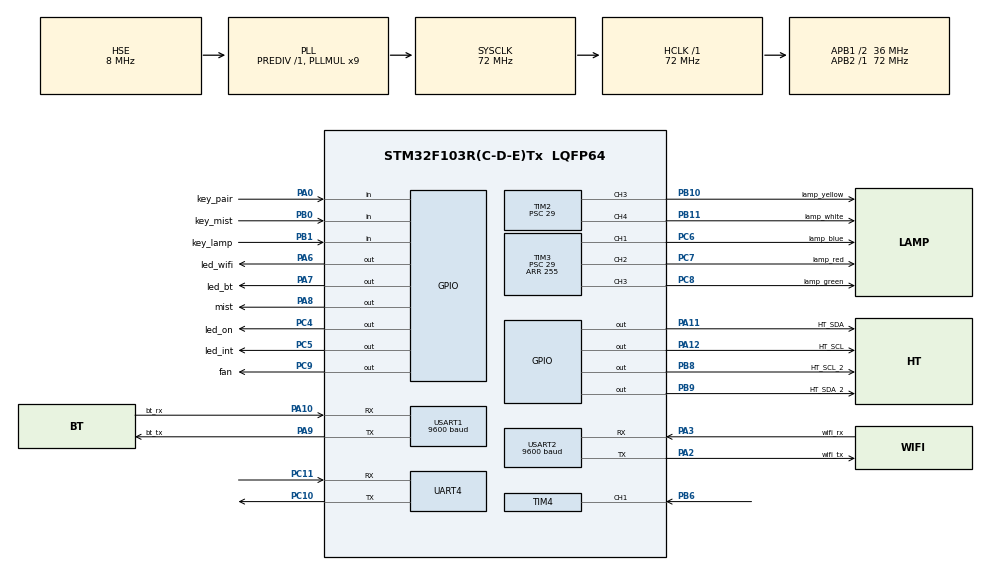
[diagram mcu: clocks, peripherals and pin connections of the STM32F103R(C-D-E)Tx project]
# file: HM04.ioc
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FREERTOS.INCLUDE_eTaskGetState=1
FREERTOS.INCLUDE_vTaskDelayUntil=1
FREERTOS.Queues01=eventsQueue,16,uint16_t,0,Dynamic,NULL,NULL
FREERTOS.Tasks01=defaultTask,0,128,StartDefaultTask,Default,NULL,Dynamic,NULL,NULL;LightsTask,-3,128,StartLightsTask,Default,NULL,Dynamic,NULL,NULL;CliTask,-3,128,StartCliTask,Default,NULL,Dynamic,NULL,NULL;FsmTask,-3,128,StartFsmTask,Default,NULL,Dynamic,NULL,NULL;KeysTask,0,128,StartKeysTask,Default,NULL,Dynamic,NULL,NULL;GizwitsTask,0,128,StartGizwitsTask,Default,NULL,Dynamic,NULL,NULL;SensorsTask,-3,128,StartSensorsTask,Default,NULL,Dynamic,NULL,NULL;ScenarioTask,-3,128,StartScenarioTask,Default,NULL,Dynamic,NULL,NULL
FREERTOS.Timers01=PairingHmiTimer,PairingHmiCallback,osTimerPeriodic,Default,NULL,Dynamic,NULL;LampDynamicTimer,LampDynamicCallback,osTimerPeriodic,Default,NULL,Dynamic,NULL;MistTimer,MistTimerCallback,osTimerOnce,Default,NULL,Dynamic,NULL;MistIntermittentTimer,IntermittentCallback,osTimerPeriodic,Default,NULL,Dynamic,NULL;TurnOffMistingDelayTimer,TurnOffMistingCallback,osTimerOnce,Default,NULL,Dynamic,NULL;PairingTimer,PairingTimerCallback,osTimerOnce,Default,NULL,Dynamic,NULL
FREERTOS.configGENERATE_RUN_TIME_STATS=1
FREERTOS.configTOTAL_HEAP_SIZE=10000
FREERTOS.configUSE_STATS_FORMATTING_FUNCTIONS=1
FREERTOS.configUSE_TIMERS=1
FREERTOS.configUSE_TRACE_FACILITY=1
Mcu.Family=STM32F1
Mcu.Name=STM32F103R(C-D-E)Tx
Mcu.Package=LQFP64
NVIC.PriorityGroup=NVIC_PRIORITYGROUP_4
NVIC.TIM1_UP_IRQn=true\:0\:0\:false\:false\:true\:false\:false
NVIC.TIM4_IRQn=true\:5\:0\:false\:false\:true\:true\:true
NVIC.TIM7_IRQn=true\:5\:0\:false\:false\:true\:true\:true
NVIC.TimeBase=TIM1_UP_IRQn
NVIC.TimeBaseIP=TIM1
NVIC.USART1_IRQn=true\:5\:0\:false\:false\:true\:true\:true
NVIC.USART2_IRQn=true\:5\:0\:false\:false\:true\:true\:true
PA0-WKUP.GPIO_Label=key_pair
PA0-WKUP.Signal=GPIO_Input
PA10.GPIO_Label=bt_rx
PA10.Mode=Asynchronous
PA10.Signal=USART1_RX
PA11.GPIO_Label=HT_SDA
PA11.Signal=GPIO_Output
PA12.GPIO_Label=HT_SCL
PA12.Signal=GPIO_Output
PA13.Mode=Trace_Asynchronous_SW
PA13.Signal=SYS_JTMS-SWDIO
PA14.Mode=Trace_Asynchronous_SW
PA14.Signal=SYS_JTCK-SWCLK
PA2.GPIO_Label=wifi_tx
PA2.Mode=Asynchronous
PA2.Signal=USART2_TX
PA3.GPIO_Label=wifi_rx
PA3.Mode=Asynchronous
PA3.Signal=USART2_RX
PA6.GPIO_Label=led_wifi
PA6.PinState=GPIO_PIN_SET
PA6.Signal=GPIO_Output
PA7.GPIO_Label=led_bt
PA7.PinState=GPIO_PIN_SET
PA7.Signal=GPIO_Output
PA8.GPIO_Label=mist
PA8.Signal=GPIO_Output
PA9.GPIO_Label=bt_tx
PA9.Mode=Asynchronous
PA9.Signal=USART1_TX
PB0.GPIO_Label=key_mist
PB0.Signal=GPIO_Input
PB1.GPIO_Label=key_lamp
PB1.Signal=GPIO_Input
PB10.GPIO_Label=lamp_yellow
PB10.Signal=S_TIM2_CH3
PB11.GPIO_Label=lamp_white
PB11.Signal=S_TIM2_CH4
PB3.Mode=Trace_Asynchronous_SW
PB3.Signal=SYS_JTDO-TRACESWO
PB6.Signal=S_TIM4_CH1
PB8.GPIO_Label=HT_SCL_2
PB8.Signal=GPIO_Output
PB9.GPIO_Label=HT_SDA_2
PB9.Signal=GPIO_Output
PC10.Mode=Asynchronous
PC10.Signal=UART4_TX
PC11.Mode=Asynchronous
PC11.Signal=UART4_RX
PC4.GPIO_Label=led_on
PC4.PinState=GPIO_PIN_SET
PC4.Signal=GPIO_Output
PC5.GPIO_Label=led_int
PC5.PinState=GPIO_PIN_SET
PC5.Signal=GPIO_Output
PC6.GPIO_Label=lamp_blue
PC6.Signal=S_TIM3_CH1
PC7.GPIO_Label=lamp_red
PC7.Signal=S_TIM3_CH2
PC8.GPIO_Label=lamp_green
PC8.Signal=S_TIM3_CH3
PC9.GPIO_Label=fan
PC9.Signal=GPIO_Output
PD0-OSC_IN.Mode=HSE-External-Oscillator
PD0-OSC_IN.Signal=RCC_OSC_IN
PD1-OSC_OUT.Mode=HSE-External-Oscillator
PD1-OSC_OUT.Signal=RCC_OSC_OUT
ProjectManager.HeapSize=0x200
ProjectManager.StackSize=0x400
ProjectManager.TargetToolchain=TrueSTUDIO
RCC.AHBFreq_Value=72000000
RCC.APB1CLKDivider=RCC_HCLK_DIV2
RCC.APB1Freq_Value=36000000
RCC.APB1TimFreq_Value=72000000
RCC.APB2Freq_Value=72000000
RCC.APB2TimFreq_Value=72000000
RCC.HCLKFreq_Value=72000000
RCC.PLLMUL=RCC_PLL_MUL9
RCC.PLLSourceVirtual=RCC_PLLSOURCE_HSE
RCC.SYSCLKFreq_VALUE=72000000
RCC.SYSCLKSource=RCC_SYSCLKSOURCE_PLLCLK
RCC.USBFreq_Value=72000000
SH.S_TIM2_CH3.0=TIM2_CH3,PWM Generation3 CH3
SH.S_TIM2_CH4.0=TIM2_CH4,PWM Generation4 CH4
SH.S_TIM3_CH1.0=TIM3_CH1,PWM Generation1 CH1
SH.S_TIM3_CH2.0=TIM3_CH2,PWM Generation2 CH2
SH.S_TIM3_CH3.0=TIM3_CH3,PWM Generation3 CH3
SH.S_TIM4_CH1.0=TIM4_CH1,TriggerSource_TI1FP1
SH.S_TIM4_CH1.1=TIM4_CH1,Input_Capture1_from_TI1
SH.S_TIM4_CH1.2=TIM4_CH1,Input_Capture2_from_TI1
TIM2.Channel-PWM\ Generation3\ CH3=TIM_CHANNEL_3
TIM2.Channel-PWM\ Generation4\ CH4=TIM_CHANNEL_4
TIM2.Period=255
TIM2.Prescaler=29
TIM3.Channel-PWM\ Generation1\ CH1=TIM_CHANNEL_1
TIM3.Channel-PWM\ Generation2\ CH2=TIM_CHANNEL_2
TIM3.Channel-PWM\ Generation3\ CH3=TIM_CHANNEL_3
TIM3.Period=255
TIM3.Prescaler=29
TIM3.Pulse-PWM\ Generation1\ CH1=0
TIM3.Pulse-PWM\ Generation2\ CH2=0
TIM3.Pulse-PWM\ Generation3\ CH3=0
TIM4.Channel-Input_Capture1_from_TI1=TIM_CHANNEL_1
TIM4.Channel-Input_Capture2_from_TI1=TIM_CHANNEL_2
TIM4.ICPolarity_CH1=TIM_INPUTCHANNELPOLARITY_FALLING
TIM4.Period=15000
TIM4.Prescaler=71
TIM7.AutoReloadPreload=TIM_AUTORELOAD_PRELOAD_ENABLE
TIM7.Period=999
TIM7.Prescaler=71
UART4.VirtualMode=Asynchronous
USART1.BaudRate=9600
USART1.VirtualMode=VM_ASYNC
USART2.BaudRate=9600
USART2.VirtualMode=VM_ASYNC
VP_FREERTOS_VS_ENABLE.Mode=Enabled
VP_SYS_VS_tim1.Mode=TIM1
VP_TIM4_VS_ClockSourceINT.Mode=Internal
VP_TIM4_VS_ControllerModeReset.Mode=Reset Mode
VP_TIM7_VS_ClockSourceINT.Mode=Enable_Timer
board=custom

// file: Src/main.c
/**
  ******************************************************************************
  * @file           : main.c
  * @brief          : Main program body
  ******************************************************************************
  * This notice applies to any and all portions of this file
  * that are not between comment pairs USER CODE BEGIN and
  * USER CODE END. Other portions of this file, whether
  * inserted by the user or by software development tools
  * are owned by their respective copyright owners.
  *
  * Copyright (c) 2019 STMicroelectronics International N.V.
  * All rights reserved.
  *
  * Redistribution and use in source and binary forms, with or without
  * modification, are permitted, provided that the following conditions are met:
  *
  * 1. Redistribution of source code must retain the above copyright notice,
  *    this list of conditions and the following disclaimer.
  * 2. Redistributions in binary form must reproduce the above copyright notice,
  *    this list of conditions and the following disclaimer in the documentation
  *    and/or other materials provided with the distribution.
  * 3. Neither the name of STMicroelectronics nor the names of other
  *    contributors to this software may be used to endorse or promote products
  *    derived from this software without specific written permission.
  * 4. This software, including modifications and/or derivative works of this
  *    software, must execute solely and exclusively on microcontroller or
  *    microprocessor devices manufactured by or for STMicroelectronics.
  * 5. Redistribution and use of this software other than as permitted under
  *    this license is void and will automatically terminate your rights under
  *    this license.
  *
  * THIS SOFTWARE IS PROVIDED BY STMICROELECTRONICS AND CONTRIBUTORS "AS IS"
  * AND ANY EXPRESS, IMPLIED OR STATUTORY WARRANTIES, INCLUDING, BUT NOT
  * LIMITED TO, THE IMPLIED WARRANTIES OF MERCHANTABILITY, FITNESS FOR A
  * PARTICULAR PURPOSE AND NON-INFRINGEMENT OF THIRD PARTY INTELLECTUAL PROPERTY
  * RIGHTS ARE DISCLAIMED TO THE FULLEST EXTENT PERMITTED BY LAW. IN NO EVENT
  * SHALL STMICROELECTRONICS OR CONTRIBUTORS BE LIABLE FOR ANY DIRECT, INDIRECT,
  * INCIDENTAL, SPECIAL, EXEMPLARY, OR CONSEQUENTIAL DAMAGES (INCLUDING, BUT NOT
  * LIMITED TO, PROCUREMENT OF SUBSTITUTE GOODS OR SERVICES; LOSS OF USE, DATA,
  * OR PROFITS; OR BUSINESS INTERRUPTION) HOWEVER CAUSED AND ON ANY THEORY OF
  * LIABILITY, WHETHER IN CONTRACT, STRICT LIABILITY, OR TORT (INCLUDING
  * NEGLIGENCE OR OTHERWISE) ARISING IN ANY WAY OUT OF THE USE OF THIS SOFTWARE,
  * EVEN IF ADVISED OF THE POSSIBILITY OF SUCH DAMAGE.
  *
  ******************************************************************************
  */
#include "main.h"
#include "stm32f1xx_hal.h"
#include "cmsis_os.h"

/* USER CODE BEGIN Includes */
#include "bsp_gpio.h"
#include "bsp_lamp.h"
#include "app.h"
#include "fsm.h"

#include "api_hm04.h"
#include "api_lamp.h"
#include "api_mist.h"
#include "api_sensor.h"
#include "sw_iic.h"
#include "gizwits.h"
#include "gizwits_product.h"
#include "gizwits_protocol.h"
#include "ir_decode.h"
/* USER CODE END Includes */

TIM_HandleTypeDef htim2;
TIM_HandleTypeDef htim3;
TIM_HandleTypeDef htim4;
TIM_HandleTypeDef htim7;

UART_HandleTypeDef huart4;
UART_HandleTypeDef huart1;
UART_HandleTypeDef huart2;

osThreadId defaultTaskHandle;
osThreadId LightsTaskHandle;
osThreadId CliTaskHandle;
osThreadId FsmTaskHandle;
osThreadId KeysTaskHandle;
osThreadId GizwitsTaskHandle;
osThreadId SensorsTaskHandle;
osThreadId ScenarioTaskHandle;
osMessageQId eventsQueueHandle;
osTimerId PairingHmiTimerHandle;
osTimerId LampDynamicTimerHandle;
osTimerId MistTimerHandle;
osTimerId MistIntermittentTimerHandle;
osTimerId TurnOffMistingDelayTimerHandle;
osTimerId PairingTimerHandle;

/* USER CODE BEGIN PV */
/* Private variables ---------------------------------------------------------*/
IR_Frame_TypeDef IF_FRAME;

const uint8_t firmware_version[] = "2.2.2";
const uint8_t firmware_version_1 = 2;
const uint8_t firmware_version_2 = 2;
const uint8_t firmware_version_3 = 2;
/* USER CODE END PV */

void SystemClock_Config(void);
static void MX_GPIO_Init(void);
static void MX_UART4_Init(void);
static void MX_USART1_UART_Init(void);
static void MX_TIM3_Init(void);
static void MX_USART2_UART_Init(void);
static void MX_TIM7_Init(void);
static void MX_TIM2_Init(void);
static void MX_TIM4_Init(void);
void StartDefaultTask(void const * argument);
void StartLightsTask(void const * argument);
void StartCliTask(void const * argument);
void StartFsmTask(void const * argument);
void StartKeysTask(void const * argument);
void StartGizwitsTask(void const * argument);
void StartSensorsTask(void const * argument);
void StartScenarioTask(void const * argument);
void PairingHmiCallback(void const * argument);
void LampDynamicCallback(void const * argument);
void MistTimerCallback(void const * argument);
void IntermittentCallback(void const * argument);
void TurnOffMistingCallback(void const * argument);
void PairingTimerCallback(void const * argument);
void HAL_TIM_MspPostInit(TIM_HandleTypeDef *htim);

/* USER CODE BEGIN PFP */
/* Private function prototypes -----------------------------------------------*/
extern void prvUARTCommandConsoleTask(void const * pvParameters );
extern void vRegisterCLICommands( void );
/* USER CODE END PFP */

int main(void)
{

  /* MCU Configuration----------------------------------------------------------*/

  /* Reset of all peripherals, Initializes the Flash interface and the Systick. */
  HAL_Init();

  /* Configure the system clock */
  SystemClock_Config();

  /* Initialize all configured peripherals */
  MX_GPIO_Init();
  MX_UART4_Init();
  MX_USART1_UART_Init();
  MX_TIM3_Init();
  MX_USART2_UART_Init();
  MX_TIM7_Init();
  MX_TIM2_Init();
  MX_TIM4_Init();
  /* USER CODE BEGIN 2 */
  vRegisterCLICommands();
  //InitLampPWM();
  //StartSystemMessage();
  // TestLampPwm();

  InitHM04();
  InitGizwits();
  InitHDC1080_sw_iic();
  InitSpeaker();
  IR_Init();

  HAL_TIM_IC_Start_IT(&htim4, TIM_CHANNEL_1);
  HAL_TIM_IC_Start_IT(&htim4, TIM_CHANNEL_2);
  // HAL_TIM_Base_Start(&htim4);
  HAL_TIM_Base_Start_IT(&htim4);
  // gizwitsSetMode(WIFI_SOFTAP_MODE);

    // __HAL_RCC_DBGMCU_CLK_ENABLE();

  //  HAL_DBGMCU_EnableDBGStandbyMode();
  //  HAL_DBGMCU_EnableDBGStopMode();
  //  __HAL_DBGMCU_FREEZE_TIM4();

  //  DBGMCU->APB1FZ |= 1;
  SystemStartSignal();
  printf("system started.\n");
  printf("Firmware version: %d %d %d\n", firmware_version_1, firmware_version_2, firmware_version_3);

  /* USER CODE END 2 */

  /* Create the timer(s) */
  /* definition and creation of PairingHmiTimer */
  osTimerDef(PairingHmiTimer, PairingHmiCallback);
  PairingHmiTimerHandle = osTimerCreate(osTimer(PairingHmiTimer), osTimerPeriodic, NULL);

  /* definition and creation of LampDynamicTimer */
  osTimerDef(LampDynamicTimer, LampDynamicCallback);
  LampDynamicTimerHandle = osTimerCreate(osTimer(LampDynamicTimer), osTimerPeriodic, NULL);

  /* definition and creation of MistTimer */
  osTimerDef(MistTimer, MistTimerCallback);
  MistTimerHandle = osTimerCreate(osTimer(MistTimer), osTimerOnce, NULL);

  /* definition and creation of MistIntermittentTimer */
  osTimerDef(MistIntermittentTimer, IntermittentCallback);
  MistIntermittentTimerHandle = osTimerCreate(osTimer(MistIntermittentTimer), osTimerPeriodic, NULL);

  /* definition and creation of TurnOffMistingDelayTimer */
  osTimerDef(TurnOffMistingDelayTimer, TurnOffMistingCallback);
  TurnOffMistingDelayTimerHandle = osTimerCreate(osTimer(TurnOffMistingDelayTimer), osTimerOnce, NULL);

  /* definition and creation of PairingTimer */
  osTimerDef(PairingTimer, PairingTimerCallback);
  PairingTimerHandle = osTimerCreate(osTimer(PairingTimer), osTimerOnce, NULL);

  /* Create the thread(s) */
  /* definition and creation of defaultTask */
  osThreadDef(defaultTask, StartDefaultTask, osPriorityNormal, 0, 128);
  defaultTaskHandle = osThreadCreate(osThread(defaultTask), NULL);

  /* definition and creation of LightsTask */
  osThreadDef(LightsTask, StartLightsTask, osPriorityIdle, 0, 128);
  LightsTaskHandle = osThreadCreate(osThread(LightsTask), NULL);

  /* definition and creation of CliTask */
  osThreadDef(CliTask, StartCliTask, osPriorityIdle, 0, 128);
  CliTaskHandle = osThreadCreate(osThread(CliTask), NULL);

  /* definition and creation of FsmTask */
  osThreadDef(FsmTask, StartFsmTask, osPriorityIdle, 0, 128);
  FsmTaskHandle = osThreadCreate(osThread(FsmTask), NULL);

  /* definition and creation of KeysTask */
  osThreadDef(KeysTask, StartKeysTask, osPriorityNormal, 0, 128);
  KeysTaskHandle = osThreadCreate(osThread(KeysTask), NULL);

  /* definition and creation of GizwitsTask */
  osThreadDef(GizwitsTask, StartGizwitsTask, osPriorityNormal, 0, 128);
  GizwitsTaskHandle = osThreadCreate(osThread(GizwitsTask), NULL);

  /* definition and creation of SensorsTask */
  osThreadDef(SensorsTask, StartSensorsTask, osPriorityIdle, 0, 128);
  SensorsTaskHandle = osThreadCreate(osThread(SensorsTask), NULL);

  /* definition and creation of ScenarioTask */
  osThreadDef(ScenarioTask, StartScenarioTask, osPriorityIdle, 0, 128);
  ScenarioTaskHandle = osThreadCreate(osThread(ScenarioTask), NULL);

  /* Create the queue(s) */
  /* definition and creation of eventsQueue */
/* what about the sizeof here??? cd native code */
  osMessageQDef(eventsQueue, 16, uint16_t);
  eventsQueueHandle = osMessageCreate(osMessageQ(eventsQueue), NULL);

  /* Start scheduler */
  osKernelStart();

  /* We should never get here as control is now taken by the scheduler */

  /* Infinite loop */
  while (1)
  {

  }

}

void SystemClock_Config(void)
{

  RCC_OscInitTypeDef RCC_OscInitStruct;
  RCC_ClkInitTypeDef RCC_ClkInitStruct;

    /**Initializes the CPU, AHB and APB busses clocks
    */
  RCC_OscInitStruct.OscillatorType = RCC_OSCILLATORTYPE_HSE;
  RCC_OscInitStruct.HSEState = RCC_HSE_ON;
  RCC_OscInitStruct.HSEPredivValue = RCC_HSE_PREDIV_DIV1;
  RCC_OscInitStruct.HSIState = RCC_HSI_ON;
  RCC_OscInitStruct.PLL.PLLState = RCC_PLL_ON;
  RCC_OscInitStruct.PLL.PLLSource = RCC_PLLSOURCE_HSE;
  RCC_OscInitStruct.PLL.PLLMUL = RCC_PLL_MUL9;
  if (HAL_RCC_OscConfig(&RCC_OscInitStruct) != HAL_OK)
  {
    _Error_Handler(__FILE__, __LINE__);
  }

    /**Initializes the CPU, AHB and APB busses clocks
    */
  RCC_ClkInitStruct.ClockType = RCC_CLOCKTYPE_HCLK|RCC_CLOCKTYPE_SYSCLK
                              |RCC_CLOCKTYPE_PCLK1|RCC_CLOCKTYPE_PCLK2;
  RCC_ClkInitStruct.SYSCLKSource = RCC_SYSCLKSOURCE_PLLCLK;
  RCC_ClkInitStruct.AHBCLKDivider = RCC_SYSCLK_DIV1;
  RCC_ClkInitStruct.APB1CLKDivider = RCC_HCLK_DIV2;
  RCC_ClkInitStruct.APB2CLKDivider = RCC_HCLK_DIV1;

  if (HAL_RCC_ClockConfig(&RCC_ClkInitStruct, FLASH_LATENCY_2) != HAL_OK)
  {
    _Error_Handler(__FILE__, __LINE__);
  }

    /**Configure the Systick interrupt time
    */
  HAL_SYSTICK_Config(HAL_RCC_GetHCLKFreq()/1000);

    /**Configure the Systick
    */
  HAL_SYSTICK_CLKSourceConfig(SYSTICK_CLKSOURCE_HCLK);

  /* SysTick_IRQn interrupt configuration */
  HAL_NVIC_SetPriority(SysTick_IRQn, 15, 0);
}

/* TIM2 init function */
static void MX_TIM2_Init(void)
{

  TIM_MasterConfigTypeDef sMasterConfig;
  TIM_OC_InitTypeDef sConfigOC;

  htim2.Instance = TIM2;
  htim2.Init.Prescaler = 29;
  htim2.Init.CounterMode = TIM_COUNTERMODE_UP;
  htim2.Init.Period = 255;
  htim2.Init.ClockDivision = TIM_CLOCKDIVISION_DIV1;
  htim2.Init.AutoReloadPreload = TIM_AUTORELOAD_PRELOAD_DISABLE;
  if (HAL_TIM_PWM_Init(&htim2) != HAL_OK)
  {
    _Error_Handler(__FILE__, __LINE__);
  }

  sMasterConfig.MasterOutputTrigger = TIM_TRGO_RESET;
  sMasterConfig.MasterSlaveMode = TIM_MASTERSLAVEMODE_DISABLE;
  if (HAL_TIMEx_MasterConfigSynchronization(&htim2, &sMasterConfig) != HAL_OK)
  {
    _Error_Handler(__FILE__, __LINE__);
  }

  sConfigOC.OCMode = TIM_OCMODE_PWM1;
  sConfigOC.Pulse = 0;
  sConfigOC.OCPolarity = TIM_OCPOLARITY_HIGH;
  sConfigOC.OCFastMode = TIM_OCFAST_DISABLE;
  if (HAL_TIM_PWM_ConfigChannel(&htim2, &sConfigOC, TIM_CHANNEL_3) != HAL_OK)
  {
    _Error_Handler(__FILE__, __LINE__);
  }

  if (HAL_TIM_PWM_ConfigChannel(&htim2, &sConfigOC, TIM_CHANNEL_4) != HAL_OK)
  {
    _Error_Handler(__FILE__, __LINE__);
  }

  HAL_TIM_MspPostInit(&htim2);

}

/* TIM3 init function */
static void MX_TIM3_Init(void)
{

  TIM_MasterConfigTypeDef sMasterConfig;
  TIM_OC_InitTypeDef sConfigOC;

  htim3.Instance = TIM3;
  htim3.Init.Prescaler = 29;
  htim3.Init.CounterMode = TIM_COUNTERMODE_UP;
  htim3.Init.Period = 255;
  htim3.Init.ClockDivision = TIM_CLOCKDIVISION_DIV1;
  htim3.Init.AutoReloadPreload = TIM_AUTORELOAD_PRELOAD_DISABLE;
  if (HAL_TIM_PWM_Init(&htim3) != HAL_OK)
  {
    _Error_Handler(__FILE__, __LINE__);
  }

  sMasterConfig.MasterOutputTrigger = TIM_TRGO_RESET;
  sMasterConfig.MasterSlaveMode = TIM_MASTERSLAVEMODE_DISABLE;
  if (HAL_TIMEx_MasterConfigSynchronization(&htim3, &sMasterConfig) != HAL_OK)
  {
    _Error_Handler(__FILE__, __LINE__);
  }

  sConfigOC.OCMode = TIM_OCMODE_PWM1;
  sConfigOC.Pulse = 0;
  sConfigOC.OCPolarity = TIM_OCPOLARITY_HIGH;
  sConfigOC.OCFastMode = TIM_OCFAST_DISABLE;
  if (HAL_TIM_PWM_ConfigChannel(&htim3, &sConfigOC, TIM_CHANNEL_1) != HAL_OK)
  {
    _Error_Handler(__FILE__, __LINE__);
  }

  if (HAL_TIM_PWM_ConfigChannel(&htim3, &sConfigOC, TIM_CHANNEL_2) != HAL_OK)
  {
    _Error_Handler(__FILE__, __LINE__);
  }

  if (HAL_TIM_PWM_ConfigChannel(&htim3, &sConfigOC, TIM_CHANNEL_3) != HAL_OK)
  {
    _Error_Handler(__FILE__, __LINE__);
  }

  HAL_TIM_MspPostInit(&htim3);

}

/* TIM4 init function */
static void MX_TIM4_Init(void)
{

  TIM_ClockConfigTypeDef sClockSourceConfig;
  TIM_SlaveConfigTypeDef sSlaveConfig;
  TIM_MasterConfigTypeDef sMasterConfig;
  TIM_IC_InitTypeDef sConfigIC;

  htim4.Instance = TIM4;
  htim4.Init.Prescaler = 71;
  htim4.Init.CounterMode = TIM_COUNTERMODE_UP;
  htim4.Init.Period = 15000;
  htim4.Init.ClockDivision = TIM_CLOCKDIVISION_DIV1;
  htim4.Init.AutoReloadPreload = TIM_AUTORELOAD_PRELOAD_DISABLE;
  if (HAL_TIM_Base_Init(&htim4) != HAL_OK)
  {
    _Error_Handler(__FILE__, __LINE__);
  }

  sClockSourceConfig.ClockSource = TIM_CLOCKSOURCE_INTERNAL;
  if (HAL_TIM_ConfigClockSource(&htim4, &sClockSourceConfig) != HAL_OK)
  {
    _Error_Handler(__FILE__, __LINE__);
  }

  if (HAL_TIM_IC_Init(&htim4) != HAL_OK)
  {
    _Error_Handler(__FILE__, __LINE__);
  }

  sSlaveConfig.SlaveMode = TIM_SLAVEMODE_RESET;
  sSlaveConfig.InputTrigger = TIM_TS_TI1FP1;
  sSlaveConfig.TriggerPolarity = TIM_INPUTCHANNELPOLARITY_FALLING;
  sSlaveConfig.TriggerFilter = 0;
  if (HAL_TIM_SlaveConfigSynchronization(&htim4, &sSlaveConfig) != HAL_OK)
  {
    _Error_Handler(__FILE__, __LINE__);
  }

  sMasterConfig.MasterOutputTrigger = TIM_TRGO_RESET;
  sMasterConfig.MasterSlaveMode = TIM_MASTERSLAVEMODE_DISABLE;
  if (HAL_TIMEx_MasterConfigSynchronization(&htim4, &sMasterConfig) != HAL_OK)
  {
    _Error_Handler(__FILE__, __LINE__);
  }

  sConfigIC.ICPolarity = TIM_INPUTCHANNELPOLARITY_FALLING;
  sConfigIC.ICSelection = TIM_ICSELECTION_DIRECTTI;
  sConfigIC.ICPrescaler = TIM_ICPSC_DIV1;
  sConfigIC.ICFilter = 0;
  if (HAL_TIM_IC_ConfigChannel(&htim4, &sConfigIC, TIM_CHANNEL_1) != HAL_OK)
  {
    _Error_Handler(__FILE__, __LINE__);
  }

  sConfigIC.ICPolarity = TIM_INPUTCHANNELPOLARITY_RISING;
  sConfigIC.ICSelection = TIM_ICSELECTION_INDIRECTTI;
  if (HAL_TIM_IC_ConfigChannel(&htim4, &sConfigIC, TIM_CHANNEL_2) != HAL_OK)
  {
    _Error_Handler(__FILE__, __LINE__);
  }

}

/* TIM7 init function */
static void MX_TIM7_Init(void)
{

  TIM_MasterConfigTypeDef sMasterConfig;

  htim7.Instance = TIM7;
  htim7.Init.Prescaler = 71;
  htim7.Init.CounterMode = TIM_COUNTERMODE_UP;
  htim7.Init.Period = 999;
  htim7.Init.AutoReloadPreload = TIM_AUTORELOAD_PRELOAD_ENABLE;
  if (HAL_TIM_Base_Init(&htim7) != HAL_OK)
  {
    _Error_Handler(__FILE__, __LINE__);
  }

  sMasterConfig.MasterOutputTrigger = TIM_TRGO_RESET;
  sMasterConfig.MasterSlaveMode = TIM_MASTERSLAVEMODE_DISABLE;
  if (HAL_TIMEx_MasterConfigSynchronization(&htim7, &sMasterConfig) != HAL_OK)
  {
    _Error_Handler(__FILE__, __LINE__);
  }

}

/* UART4 init function */
static void MX_UART4_Init(void)
{

  huart4.Instance = UART4;
  huart4.Init.BaudRate = 115200;
  huart4.Init.WordLength = UART_WORDLENGTH_8B;
  huart4.Init.StopBits = UART_STOPBITS_1;
  huart4.Init.Parity = UART_PARITY_NONE;
  huart4.Init.Mode = UART_MODE_TX_RX;
  huart4.Init.HwFlowCtl = UART_HWCONTROL_NONE;
  huart4.Init.OverSampling = UART_OVERSAMPLING_16;
  if (HAL_UART_Init(&huart4) != HAL_OK)
  {
    _Error_Handler(__FILE__, __LINE__);
  }

}

/* USART1 init function */
static void MX_USART1_UART_Init(void)
{

  huart1.Instance = USART1;
  huart1.Init.BaudRate = 9600;
  huart1.Init.WordLength = UART_WORDLENGTH_8B;
  huart1.Init.StopBits = UART_STOPBITS_1;
  huart1.Init.Parity = UART_PARITY_NONE;
  huart1.Init.Mode = UART_MODE_TX_RX;
  huart1.Init.HwFlowCtl = UART_HWCONTROL_NONE;
  huart1.Init.OverSampling = UART_OVERSAMPLING_16;
  if (HAL_UART_Init(&huart1) != HAL_OK)
  {
    _Error_Handler(__FILE__, __LINE__);
  }

}

/* USART2 init function */
static void MX_USART2_UART_Init(void)
{

  huart2.Instance = USART2;
  huart2.Init.BaudRate = 9600;
  huart2.Init.WordLength = UART_WORDLENGTH_8B;
  huart2.Init.StopBits = UART_STOPBITS_1;
  huart2.Init.Parity = UART_PARITY_NONE;
  huart2.Init.Mode = UART_MODE_TX_RX;
  huart2.Init.HwFlowCtl = UART_HWCONTROL_NONE;
  huart2.Init.OverSampling = UART_OVERSAMPLING_16;
  if (HAL_UART_Init(&huart2) != HAL_OK)
  {
    _Error_Handler(__FILE__, __LINE__);
  }

}

/** Configure pins as
        * Analog
        * Input
        * Output
        * EVENT_OUT
        * EXTI
*/
static void MX_GPIO_Init(void)
{

  GPIO_InitTypeDef GPIO_InitStruct;

  /* GPIO Ports Clock Enable */
  __HAL_RCC_GPIOD_CLK_ENABLE();
  __HAL_RCC_GPIOA_CLK_ENABLE();
  __HAL_RCC_GPIOC_CLK_ENABLE();
  __HAL_RCC_GPIOB_CLK_ENABLE();

  /*Configure GPIO pin Output Level */
  HAL_GPIO_WritePin(GPIOA, led_wifi_Pin|led_bt_Pin, GPIO_PIN_SET);

  /*Configure GPIO pin Output Level */
  HAL_GPIO_WritePin(GPIOC, led_on_Pin|led_int_Pin, GPIO_PIN_SET);

  /*Configure GPIO pin Output Level */
  HAL_GPIO_WritePin(fan_GPIO_Port, fan_Pin, GPIO_PIN_RESET);

  /*Configure GPIO pin Output Level */
  HAL_GPIO_WritePin(GPIOA, mist_Pin|HT_SDA_Pin|HT_SCL_Pin, GPIO_PIN_RESET);

  /*Configure GPIO pin Output Level */
  HAL_GPIO_WritePin(GPIOB, HT_SCL_2_Pin|HT_SDA_2_Pin, GPIO_PIN_RESET);

  /*Configure GPIO pin : key_pair_Pin */
  GPIO_InitStruct.Pin = key_pair_Pin;
  GPIO_InitStruct.Mode = GPIO_MODE_INPUT;
  GPIO_InitStruct.Pull = GPIO_NOPULL;
  HAL_GPIO_Init(key_pair_GPIO_Port, &GPIO_InitStruct);

  /*Configure GPIO pins : led_wifi_Pin led_bt_Pin mist_Pin HT_SDA_Pin
                           HT_SCL_Pin */
  GPIO_InitStruct.Pin = led_wifi_Pin|led_bt_Pin|mist_Pin|HT_SDA_Pin
                          |HT_SCL_Pin;
  GPIO_InitStruct.Mode = GPIO_MODE_OUTPUT_PP;
  GPIO_InitStruct.Pull = GPIO_NOPULL;
  GPIO_InitStruct.Speed = GPIO_SPEED_FREQ_LOW;
  HAL_GPIO_Init(GPIOA, &GPIO_InitStruct);

  /*Configure GPIO pins : led_on_Pin led_int_Pin fan_Pin */
  GPIO_InitStruct.Pin = led_on_Pin|led_int_Pin|fan_Pin;
  GPIO_InitStruct.Mode = GPIO_MODE_OUTPUT_PP;
  GPIO_InitStruct.Pull = GPIO_NOPULL;
  GPIO_InitStruct.Speed = GPIO_SPEED_FREQ_LOW;
  HAL_GPIO_Init(GPIOC, &GPIO_InitStruct);

  /*Configure GPIO pins : key_mist_Pin key_lamp_Pin */
  GPIO_InitStruct.Pin = key_mist_Pin|key_lamp_Pin;
  GPIO_InitStruct.Mode = GPIO_MODE_INPUT;
  GPIO_InitStruct.Pull = GPIO_NOPULL;
  HAL_GPIO_Init(GPIOB, &GPIO_InitStruct);

  /*Configure GPIO pins : HT_SCL_2_Pin HT_SDA_2_Pin */
  GPIO_InitStruct.Pin = HT_SCL_2_Pin|HT_SDA_2_Pin;
  GPIO_InitStruct.Mode = GPIO_MODE_OUTPUT_PP;
  GPIO_InitStruct.Pull = GPIO_NOPULL;
  GPIO_InitStruct.Speed = GPIO_SPEED_FREQ_LOW;
  HAL_GPIO_Init(GPIOB, &GPIO_InitStruct);

}

/* StartDefaultTask function */
void StartDefaultTask(void const * argument)
{

  /* USER CODE BEGIN 5 */
  event_t new;
  printf("Rtos started.\n");
  /* Infinite loop */
  for(;;)
  {
    if (IR_Decode(&IF_FRAME) == 0){
      switch(IF_FRAME.Command){
        case COMMAND_LAMP_BUTTON:
        new = EVENT_IR_LAMP;
        xQueueSend(eventsQueueHandle, &new, 10);
        break;
        case COMMAND_MIST_TIMER:
        new = EVENT_IR_MIST;
        xQueueSend(eventsQueueHandle, &new, 10);
        break;
        case COMMAND_WHITE:
        new = EVENT_IR_WHITE;
        xQueueSend(eventsQueueHandle, &new, 10);
        break;
        case COMMAND_YELLOW:
        new = EVENT_IR_YELLOW;
        xQueueSend(eventsQueueHandle, &new, 10);
        break;
        case COMMAND_DYNAMIC:
        new = EVENT_IR_DYNAMIC;
        xQueueSend(eventsQueueHandle, &new, 10);
        break;
        case COMMAND_SCENARIO:
        new = EVENT_IR_SCENARIO;
        xQueueSend(eventsQueueHandle, &new, 10);
        break;
        case COMMAND_VOLUME_PLUS:
        new = EVENT_IR_VOLUME_PLUS;
        xQueueSend(eventsQueueHandle, &new, 10);
        break;
        case COMMAND_VOLUME_MINUS:
        new = EVENT_IR_VOLUME_MINUS;
        xQueueSend(eventsQueueHandle, &new, 10);
        break;
        case COMMAND_PLAY_PAUSE:
        new = EVENT_IR_PLAY_PAUSE;
        xQueueSend(eventsQueueHandle, &new, 10);
        break;
        default:
        break;

      }
    }

    osDelay(100);
  }
  /* USER CODE END 5 */
}

/* StartLightsTask function */
void StartLightsTask(void const * argument)
{
  /* USER CODE BEGIN StartLightsTask */
  /* Infinite loop */
  for(;;)
  {
    // TestSpeaker();
    osDelay(100);
  }
  /* USER CODE END StartLightsTask */
}

/* StartCliTask function */
void StartCliTask(void const * argument)
{
  /* USER CODE BEGIN StartCliTask */
  /* Infinite loop */
  //prvUARTCommandConsoleTask(NULL);
  for(;;)
  {

    osDelay(100);
  }
  /* USER CODE END StartCliTask */
}

/* StartFsmTask function */
void StartFsmTask(void const * argument)
{
  /* USER CODE BEGIN StartFsmTask */
  /* Infinite loop */
  for(;;)
  {
    StartFSM();
    osDelay(10);
  }
  /* USER CODE END StartFsmTask */
}

/* StartKeysTask function */
void StartKeysTask(void const * argument)
{
  /* USER CODE BEGIN StartKeysTask */
  //key_state_t * key_state;
  //uint8_t * keys_acc;
  /* Infinite loop */
  for(;;)
  {
    ReadKeys(GetReadKeysFuncs(), KeysCallback);
    osDelay(50);
  }
  /* USER CODE END StartKeysTask */
}

/* StartGizwitsTask function */
void StartGizwitsTask(void const * argument)
{
  /* USER CODE BEGIN StartGizwitsTask */
  extern dataPoint_t currentDataPoint;
  /* Infinite loop */
  for(;;)
  {
    userHandle();
    gizwitsHandle((dataPoint_t *)&currentDataPoint);
    osDelay(100);
  }
  /* USER CODE END StartGizwitsTask */
}

/* StartSensorsTask function */
void StartSensorsTask(void const * argument)
{
  /* USER CODE BEGIN StartSensorsTask */
  float temperature, humidity;
  /* Infinite loop */
  for(;;)
  {
    GetTemperatureHumidity(&temperature, &humidity);
    UpdateTempHumi(&temperature, &humidity);
    osDelay(500);
  }
  /* USER CODE END StartSensorsTask */
}

/* StartScenarioTask function */
void StartScenarioTask(void const * argument)
{
  /* USER CODE BEGIN StartScenarioTask */
  extern Scenario_t Scenario;

  /* Infinite loop */
  for(;;)
  {
    if (scenario_mode == GetLampMode()){
      if (Scenario()){

      }
    }
    osThreadSuspend(ScenarioTaskHandle);
  }
  /* USER CODE END StartScenarioTask */
}

/* PairingHmiCallback function */
void PairingHmiCallback(void const * argument)
{
  /* USER CODE BEGIN PairingHmiCallback */
  ToggleLed(led_wifi);
  /* USER CODE END PairingHmiCallback */
}

/* LampDynamicCallback function */
void LampDynamicCallback(void const * argument)
{
  /* USER CODE BEGIN LampDynamicCallback */
  LampDynamicCallbackFromApiLamp();
  /* USER CODE END LampDynamicCallback */
}

/* MistTimerCallback function */
void MistTimerCallback(void const * argument)
{
  /* USER CODE BEGIN MistTimerCallback */
  MistingTimerCallback_api_mist();
  /* USER CODE END MistTimerCallback */
}

/* IntermittentCallback function */
void IntermittentCallback(void const * argument)
{
  /* USER CODE BEGIN IntermittentCallback */
  MistingIntermittentCallback_api_mist();
  /* USER CODE END IntermittentCallback */
}

/* TurnOffMistingCallback function */
void TurnOffMistingCallback(void const * argument)
{
  /* USER CODE BEGIN TurnOffMistingCallback */
  StoppingMistingDelayCallback_api_mist();
  /* USER CODE END TurnOffMistingCallback */
}

/* PairingTimerCallback function */
void PairingTimerCallback(void const * argument)
{
  /* USER CODE BEGIN PairingTimerCallback */
  StopPairing_hmi();
  /* USER CODE END PairingTimerCallback */
}

void HAL_TIM_PeriodElapsedCallback(TIM_HandleTypeDef *htim)
{
  /* USER CODE BEGIN Callback 0 */
// ////////////////
  /* USER CODE END Callback 0 */
  if (htim->Instance == TIM1) {
    HAL_IncTick();
  }
  /* USER CODE BEGIN Callback 1 */
  else if(htim->Instance == TIM_GIZWITS)
	{
			// keyHandle((keysTypedef_t *)&keys);
			gizTimerMs();
	}
  else if (htim->Instance == TIM4) {
    IR_ResetPacket();
  }

  /* USER CODE END Callback 1 */
}

void _Error_Handler(char *file, int line)
{
  while(1)
  {
  }
}

/************************ (C) COPYRIGHT STMicroelectronics *****END OF FILE****/
